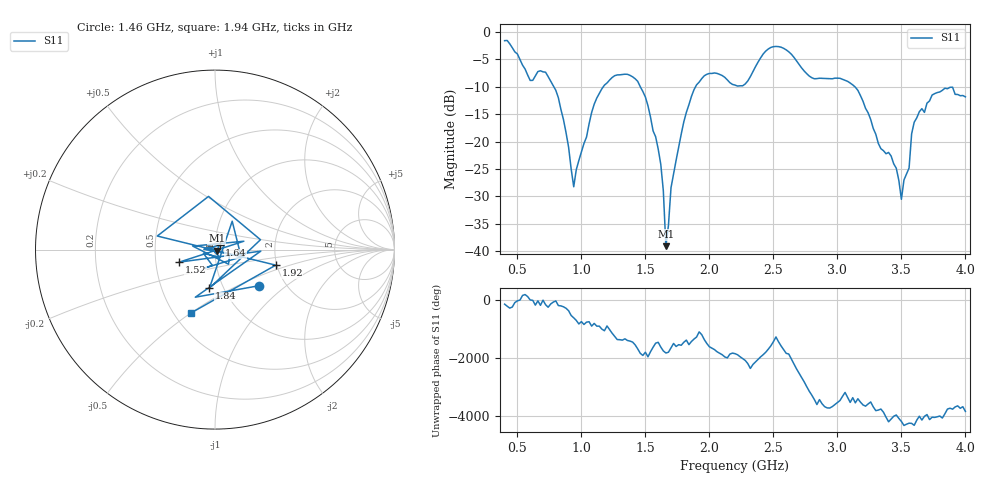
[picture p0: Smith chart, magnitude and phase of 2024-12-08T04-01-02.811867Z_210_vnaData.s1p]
!Created with skrf (http://scikit-rf.org).
# Hz S RI R 50.0
!freq ReS11 ImS11
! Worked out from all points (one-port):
!   181 points, 400 MHz to 4 GHz, reference 50 ohm
!   lowest |S11| = -39.1 dB at 1.66 GHz (marker M1), VSWR 1.02, Z = 51 - j0.532 ohm
!   |S11| at or under -10 dB: 785.3 MHz to 1.17 GHz (385.1 MHz wide, 39.4 % of centre); 1.461 GHz to 1.891 GHz (430.8 MHz wide, 25.7 % of centre); 3.138 GHz to end of sweep
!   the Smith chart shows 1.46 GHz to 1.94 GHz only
!   S11 on the Smith chart (normalised r, x): 1.46 GHz: 1.47, -0.66; 1.52 GHz: 0.66, -0.10; 1.64 GHz: 1.05, +0.05; 1.84 GHz: 0.86, -0.39; 1.92 GHz: 1.97, -0.39; 1.94 GHz: 0.61, -0.50
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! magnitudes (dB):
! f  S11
! 400 MHz  -1.6
! 600 MHz  -8.8
! 720 MHz  -7.3
! 860 MHz  -16.0
! 940 MHz  -28.2
! 1.1 GHz  -13.2
! 1.3 GHz  -7.8
! 1.46 GHz  -10.0
! 1.52 GHz  -13.4
! 1.6 GHz  -21.4
! 1.64 GHz  -28.9
! 1.66 GHz  -39.1
! 1.7 GHz  -28.4
! 1.76 GHz  -21.0
! 1.84 GHz  -13.3
! 1.92 GHz  -9.1
! 1.94 GHz  -8.5
! 2.2 GHz  -9.7
! 2.48 GHz  -2.8
! 2.66 GHz  -4.6
! 2.8 GHz  -8.3
! 3.1 GHz  -9.3
! 3.42 GHz  -22.6
! 3.5 GHz  -30.5
! 3.56 GHz  -24.8
! 3.6 GHz  -16.5
! 3.74 GHz  -11.5
! 4 GHz  -11.8
